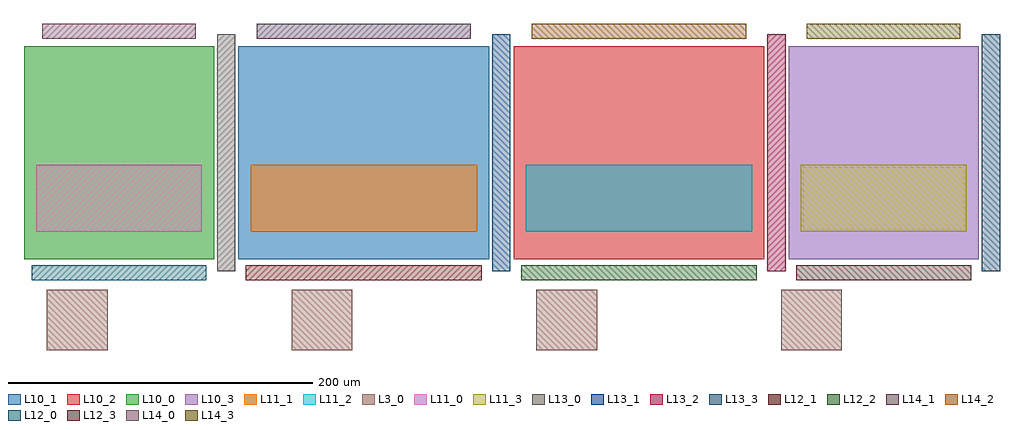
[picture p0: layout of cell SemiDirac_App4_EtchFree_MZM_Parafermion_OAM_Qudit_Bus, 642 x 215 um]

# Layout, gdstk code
import gdstk
lib = gdstk.Library(unit=1e-6, precision=1e-09)
def R(c, l, rs):  # rectangles x0, y0, x1, y1
    for r in rs: c.add(gdstk.rectangle(r[:2], r[2:], *l))
def A(c, l, x, y, w, h, nx, ny, dx, dy):  # array of equal rectangles
    R(c, l, [(x+i*dx, y+j*dy, x+i*dx+w, y+j*dy+h) for i in range(nx) for j in range(ny)])
L3_0 = (3, 0)
L10_0 = (10, 0)
L10_1 = (10, 1)
L10_2 = (10, 2)
L10_3 = (10, 3)
L11_0 = (11, 0)
L11_1 = (11, 1)
L11_2 = (11, 2)
L11_3 = (11, 3)
L12_0 = (12, 0)
L12_1 = (12, 1)
L12_2 = (12, 2)
L12_3 = (12, 3)
L13_0 = (13, 0)
L13_1 = (13, 1)
L13_2 = (13, 2)
L13_3 = (13, 3)
L14_0 = (14, 0)
L14_1 = (14, 1)
L14_2 = (14, 2)
L14_3 = (14, 3)

semidirac_app4_etchfree_ = lib.new_cell('SemiDirac_App4_EtchFree_MZM_Parafermion_OAM_Qudit_Bus')
A(semidirac_app4_etchfree_, L3_0, 15, -60, 40, 40, 4, 1, 161, 0)
R(semidirac_app4_etchfree_, L10_0, [(0,0,125,140)])
R(semidirac_app4_etchfree_, L10_1, [(141,0,306,140)])
R(semidirac_app4_etchfree_, L10_2, [(322,0,487,140)])
R(semidirac_app4_etchfree_, L10_3, [(503,0,628,140)])
R(semidirac_app4_etchfree_, L11_0, [(8,18,117,62)])
R(semidirac_app4_etchfree_, L11_1, [(149,18,298,62)])
R(semidirac_app4_etchfree_, L11_2, [(330,18,479,62)])
R(semidirac_app4_etchfree_, L11_3, [(511,18,620,62)])
R(semidirac_app4_etchfree_, L12_0, [(5,-14,120,-4)])
R(semidirac_app4_etchfree_, L12_1, [(146,-14,301,-4)])
R(semidirac_app4_etchfree_, L12_2, [(327,-14,482,-4)])
R(semidirac_app4_etchfree_, L12_3, [(508,-14,623,-4)])
R(semidirac_app4_etchfree_, L13_0, [(127,-8,139,148)])
R(semidirac_app4_etchfree_, L13_1, [(308,-8,320,148)])
R(semidirac_app4_etchfree_, L13_2, [(489,-8,501,148)])
R(semidirac_app4_etchfree_, L13_3, [(630,-8,642,148)])
R(semidirac_app4_etchfree_, L14_0, [(12,145,113,155)])
R(semidirac_app4_etchfree_, L14_1, [(153,145,294,155)])
R(semidirac_app4_etchfree_, L14_2, [(334,145,475,155)])
R(semidirac_app4_etchfree_, L14_3, [(515,145,616,155)])

lib.write_gds('SemiDirac_App4_EtchFree_MZM_Parafermion_OAM_Qudit_Bus.gds')
